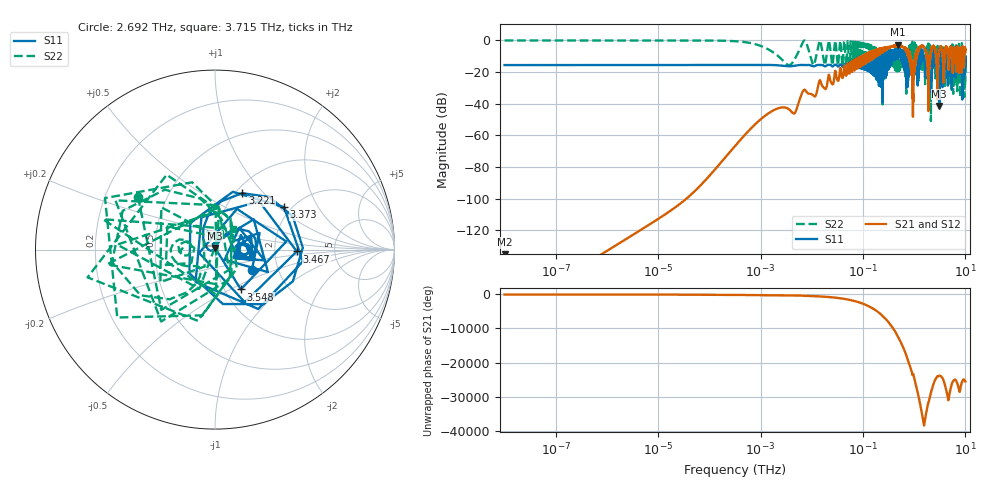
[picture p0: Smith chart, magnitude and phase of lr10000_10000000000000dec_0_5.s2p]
! NPort=2 DATA=4501 NOISE=0 GROUPDELAY=0 COMPLEX_DATAFORMAT=RI
! NumOfBlock=1 NumOfParam=0
! .MODEL Smodel S TSTONEFILE=./link_rx/link_rx_s3/lr10000_10000000000000dec_0_5.s2p TYPE=S
!  -- The above .MODEL line can be used for the S element in the netlist.
# Hz S RI R  50
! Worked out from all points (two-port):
!   4501 points, 10 kHz to 10 THz, reference 50 ohm
!   highest |S21| = -2.69 dB at 485.3 GHz (marker M1); lowest = -173.0 dB at 10 kHz (marker M2)
!   |S21| within 3 dB of the highest: 291.4 GHz to 672.1 GHz (380.7 GHz wide, 79 % of centre); 1.248 THz to 1.611 THz (363.7 GHz wide, 25.4 % of centre)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
!   lowest |S11| = -41.4 dB at 3.09 THz (marker M3), VSWR 1.02, Z = 50 + j0.85 ohm
!   |S11| at or under -10 dB: 5.446 THz to 6.13 THz (684 GHz wide, 11.8 % of centre); 6.338 THz to 6.949 THz (610.9 GHz wide, 9.19 % of centre); 8.895 THz to 9.701 THz (805.2 GHz wide, 8.66 % of centre)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
!   |S22| runs from -50.9 to 0.0 dB; largest |S21 - S12| = 6.1e-13
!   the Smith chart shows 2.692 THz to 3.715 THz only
!   S11 on the Smith chart (normalised r, x): 2.692 THz: 1.46, -0.36; 3.221 THz: 1.07, +0.77; 3.373 THz: 1.83, +1.09; 3.467 THz: 2.67, -0.07; 3.548 THz: 1.19, -0.57; 3.715 THz: 1.28, -0.06
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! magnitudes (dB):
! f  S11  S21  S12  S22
! 10 kHz  -15.6  -173.0  -173.0  0.0
! 316.2 kHz  -15.6  -143.0  -143.0  0.0
! 10 MHz  -15.6  -112.8  -112.8  0.0
! 133.7 MHz  -15.6  -80.9  -80.9  -0.1
! 316.2 MHz  -15.5  -66.7  -66.7  -0.5
! 3.581 GHz  -16.3  -43.5  -43.5  -15.6
! 7.244 GHz  -15.5  -31.1  -31.1  0.0
! 10 GHz  -16.0  -34.0  -34.0  -13.1
! 14.32 GHz  -15.5  -25.1  -25.1  -0.1
! 17.78 GHz  -16.3  -30.4  -30.4  -15.4
! 316.2 GHz  -6.6  -4.1  -4.1  -12.4
! 485.3 GHz  -11.4  -2.7  -2.7  -11.7
! 937.6 GHz  -15.4  -36.7  -36.7  -11.0
! 1.361 THz  -8.0  -3.5  -3.5  -14.9
! 2.692 THz  -12.6  -8.6  -8.6  -5.7
! 3.09 THz  -41.4  -6.9  -6.9  -17.4
! 3.221 THz  -9.1  -3.6  -3.6  -12.1
! 3.373 THz  -6.9  -4.1  -4.1  -15.2
! 3.467 THz  -6.8  -4.5  -4.5  -10.9
! 3.548 THz  -11.6  -6.1  -6.1  -8.4
! 3.715 THz  -18.0  -19.3  -19.3  -16.4
! 10 THz  -10.2  -7.5  -7.5  -20.4
